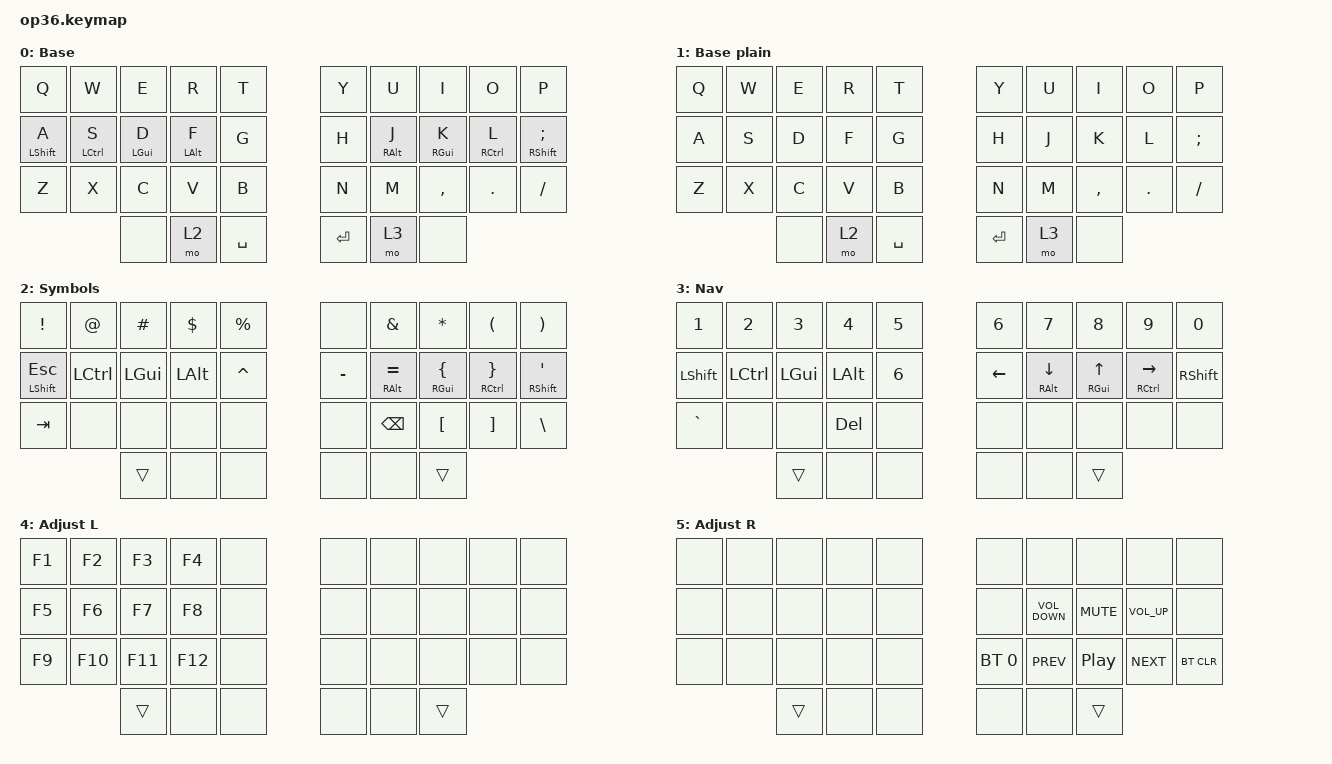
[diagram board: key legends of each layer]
#include "keys_ru.h"
#include <behaviors.dtsi>
#include <dt-bindings/zmk/bt.h>
#include <dt-bindings/zmk/keys.h>

&mt {
    quick-tap-ms = <200>;
    flavor = "tap-preferred";
    require-prior-idle-ms = <125>;
};

/ {
    behaviors {
        hml: home_row_mod_left {
            compatible = "zmk,behavior-hold-tap";
            #binding-cells = <2>;
            flavor = "balanced";
            require-prior-idle-ms = <50>;
            tapping-term-ms = <200>;
            quick-tap-ms = <150>;
            bindings = <&kp>, <&kp>;

            hold-trigger-key-positions = <5 6 7 8 9 15 16 17 18 19 25 26 27 28 29 33 34 35>;
            hold-trigger-on-release;
        };

        hmr: home_row_mod_right {
            compatible = "zmk,behavior-hold-tap";
            #binding-cells = <2>;
            flavor = "balanced";
            require-prior-idle-ms = <50>;
            tapping-term-ms = <200>;
            quick-tap-ms = <150>;
            bindings = <&kp>, <&kp>;

            hold-trigger-key-positions = <0 1 2 3 4 10 11 12 13 14 20 21 22 23 24 30 31 32>;
            hold-trigger-on-release;
        };
    };

    combos {
        compatible = "zmk,combos";

        esc {
            bindings = <&kp ESC>;
            key-positions = <12 17>;
        };

        caps {
            bindings = <&kp CAPSLOCK>;
            key-positions = <10 19>;
        };

        lang {
            bindings = <&kp LG(SPACE)>;
            key-positions = <2 7>;
            timeout-ms = <60>;
            layers = <0 1>;
        };

        adj_left {
            bindings = <&mo 4>;
            key-positions = <6 9>;
        };

        adj_right {
            bindings = <&mo 5>;
            key-positions = <0 3>;
        };

        plain_base {
            bindings = <&tog 1>;
            key-positions = <20 29>;
        };
    };

    keymap {
        compatible = "zmk,keymap";

        en {
            bindings = <
  &kp Q              &kp W         &kp E            &kp R            &kp T                          &kp Y  &kp U             &kp I             &kp O                 &kp P
  &hml LEFT_SHIFT A  &hml LCTRL S  &hml LEFT_GUI D  &hml LEFT_ALT F  &kp G                          &kp H  &hmr RIGHT_ALT J  &hmr RIGHT_GUI K  &hmr RIGHT_CONTROL L  &hmr RIGHT_SHIFT SEMICOLON
  &kp Z              &kp X         &kp C            &kp V            &kp B                          &kp N  &kp M             &kp COMMA         &kp DOT               &kp SLASH
                                                    &none            &mo 2  &kp SPACE    &kp ENTER  &mo 3  &none
            >;

            display-name = "Base";
        };

        // Keep the plain base below momentary layers so Symbols/Nav/Adjust can override it.
        en_plain {
            bindings = <
  &kp Q  &kp W  &kp E  &kp R  &kp T                          &kp Y  &kp U  &kp I      &kp O    &kp P
  &kp A  &kp S  &kp D  &kp F  &kp G                          &kp H  &kp J  &kp K      &kp L    &kp SEMICOLON
  &kp Z  &kp X  &kp C  &kp V  &kp B                          &kp N  &kp M  &kp COMMA  &kp DOT  &kp SLASH
                        &none  &mo 2  &kp SPACE    &kp ENTER  &mo 3  &none
            >;

            display-name = "Base plain";
        };

        sym_en {
            bindings = <
  &kp EXCL             &kp AT_SIGN       &kp HASH      &kp DOLLAR    &kp PRCNT                    &none      &kp AMPERSAND         &kp ASTERISK               &kp LEFT_PARENTHESIS            &kp RIGHT_PARENTHESIS
  &hml LEFT_SHIFT ESC  &kp LEFT_CONTROL  &kp LEFT_GUI  &kp LEFT_ALT  &kp CARET                    &kp MINUS  &hmr RIGHT_ALT EQUAL  &hmr RIGHT_GUI LEFT_BRACE  &hmr RIGHT_CONTROL RIGHT_BRACE  &hmr RIGHT_SHIFT SINGLE_QUOTE
  &kp TAB              &none             &none         &none         &none                       &none      &kp BACKSPACE         &kp LEFT_BRACKET           &kp RIGHT_BRACKET               &kp BACKSLASH
                                                       &trans        &none        &none    &none  &none      &trans
            >;

            display-name = "Symbols";
        };

        nav {
            bindings = <
  &kp N1          &kp N2            &kp N3        &kp N4        &kp N5                        &kp N6    &kp N7               &kp N8                   &kp N9                    &kp N0
  &kp LEFT_SHIFT  &kp LEFT_CONTROL  &kp LEFT_GUI  &kp LEFT_ALT  &kp NUMBER_6                  &kp LEFT  &hmr RIGHT_ALT DOWN  &hmr RIGHT_GUI UP_ARROW  &hmr RIGHT_CONTROL RIGHT  &kp RIGHT_SHIFT
  &kp GRAVE       &none             &none         &kp DELETE    &none                         &none     &none                &none                    &none                     &none
                                                  &trans        &none         &none    &none  &none     &trans
            >;

            display-name = "Nav";
        };

        adj_left {
            bindings = <
  &kp F1  &kp F2   &kp F3   &kp F4   &none                  &none  &none  &none  &none  &none
  &kp F5  &kp F6   &kp F7   &kp F8   &none                  &none  &none  &none  &none  &none
  &kp F9  &kp F10  &kp F11  &kp F12  &none                  &none  &none  &none  &none  &none
                            &trans   &none  &none    &none  &none  &trans
            >;

            display-name = "Adjust L";
        };

        adj_right {
            bindings = <
  &none  &none  &none  &none  &none                  &none         &none              &none       &none            &none
  &none  &none  &none  &none  &none                  &none         &kp C_VOLUME_DOWN  &kp K_MUTE  &kp C_VOLUME_UP  &none
  &none  &none  &none  &none  &none                  &bt BT_SEL 0  &kp C_PREV         &kp C_PP    &kp C_NEXT       &bt BT_CLR
                        &trans  &none  &none    &none  &none         &trans
            >;

            display-name = "Adjust R";
        };
    };
};
